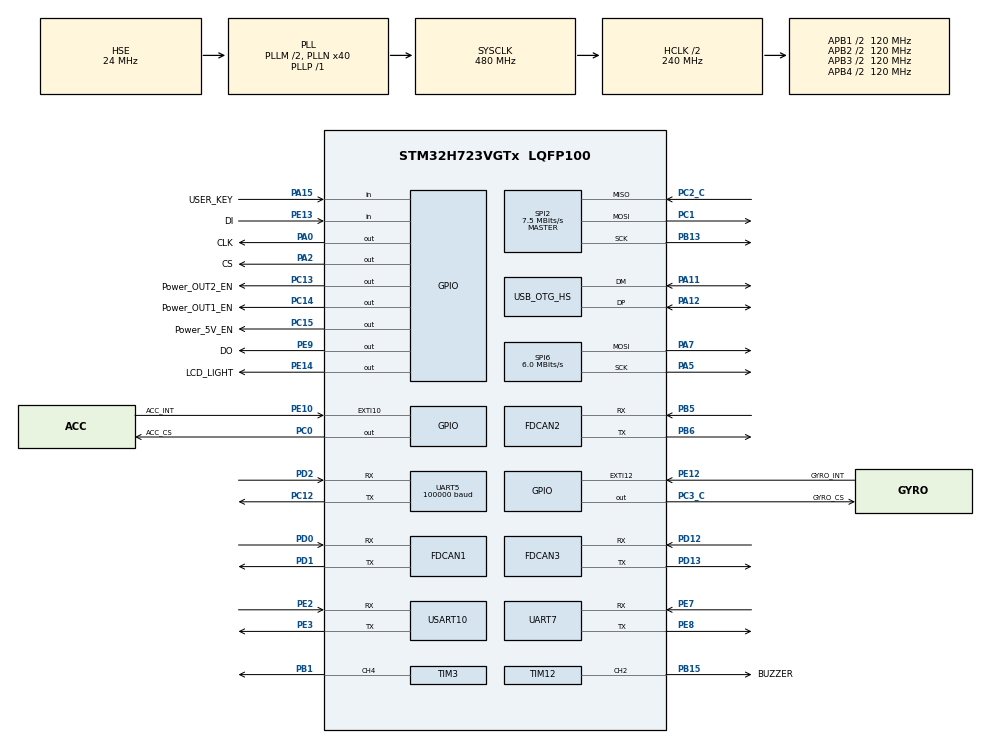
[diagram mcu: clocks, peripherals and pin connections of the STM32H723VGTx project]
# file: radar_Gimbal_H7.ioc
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Dma.Request0=SPI2_RX
Dma.Request1=SPI2_TX
Dma.Request2=USART10_RX
Dma.Request3=UART7_RX
Dma.Request4=UART5_RX
Dma.Request5=UART7_TX
Dma.SPI2_RX.0.Direction=DMA_PERIPH_TO_MEMORY
Dma.SPI2_RX.0.EventEnable=DISABLE
Dma.SPI2_RX.0.FIFOMode=DMA_FIFOMODE_DISABLE
Dma.SPI2_RX.0.Instance=DMA1_Stream2
Dma.SPI2_RX.0.MemDataAlignment=DMA_MDATAALIGN_BYTE
Dma.SPI2_RX.0.MemInc=DMA_MINC_ENABLE
Dma.SPI2_RX.0.Mode=DMA_NORMAL
Dma.SPI2_RX.0.PeriphDataAlignment=DMA_PDATAALIGN_BYTE
Dma.SPI2_RX.0.PeriphInc=DMA_PINC_DISABLE
Dma.SPI2_RX.0.Polarity=HAL_DMAMUX_REQ_GEN_RISING
Dma.SPI2_RX.0.Priority=DMA_PRIORITY_VERY_HIGH
Dma.SPI2_RX.0.RequestNumber=1
Dma.SPI2_RX.0.SignalID=NONE
Dma.SPI2_RX.0.SyncEnable=DISABLE
Dma.SPI2_RX.0.SyncPolarity=HAL_DMAMUX_SYNC_NO_EVENT
Dma.SPI2_RX.0.SyncRequestNumber=1
Dma.SPI2_RX.0.SyncSignalID=NONE
Dma.SPI2_TX.1.Direction=DMA_MEMORY_TO_PERIPH
Dma.SPI2_TX.1.EventEnable=DISABLE
Dma.SPI2_TX.1.FIFOMode=DMA_FIFOMODE_DISABLE
Dma.SPI2_TX.1.Instance=DMA1_Stream1
Dma.SPI2_TX.1.MemDataAlignment=DMA_MDATAALIGN_BYTE
Dma.SPI2_TX.1.MemInc=DMA_MINC_ENABLE
Dma.SPI2_TX.1.Mode=DMA_NORMAL
Dma.SPI2_TX.1.PeriphDataAlignment=DMA_PDATAALIGN_BYTE
Dma.SPI2_TX.1.PeriphInc=DMA_PINC_DISABLE
Dma.SPI2_TX.1.Polarity=HAL_DMAMUX_REQ_GEN_RISING
Dma.SPI2_TX.1.Priority=DMA_PRIORITY_HIGH
Dma.SPI2_TX.1.RequestNumber=1
Dma.SPI2_TX.1.SignalID=NONE
Dma.SPI2_TX.1.SyncEnable=DISABLE
Dma.SPI2_TX.1.SyncPolarity=HAL_DMAMUX_SYNC_NO_EVENT
Dma.SPI2_TX.1.SyncRequestNumber=1
Dma.SPI2_TX.1.SyncSignalID=NONE
Dma.UART5_RX.4.Direction=DMA_PERIPH_TO_MEMORY
Dma.UART5_RX.4.EventEnable=DISABLE
Dma.UART5_RX.4.FIFOMode=DMA_FIFOMODE_DISABLE
Dma.UART5_RX.4.Instance=DMA1_Stream0
Dma.UART5_RX.4.MemDataAlignment=DMA_MDATAALIGN_BYTE
Dma.UART5_RX.4.MemInc=DMA_MINC_ENABLE
Dma.UART5_RX.4.Mode=DMA_CIRCULAR
Dma.UART5_RX.4.PeriphDataAlignment=DMA_PDATAALIGN_BYTE
Dma.UART5_RX.4.PeriphInc=DMA_PINC_DISABLE
Dma.UART5_RX.4.Polarity=HAL_DMAMUX_REQ_GEN_RISING
Dma.UART5_RX.4.Priority=DMA_PRIORITY_HIGH
Dma.UART5_RX.4.RequestNumber=1
Dma.UART5_RX.4.SignalID=NONE
Dma.UART5_RX.4.SyncEnable=DISABLE
Dma.UART5_RX.4.SyncPolarity=HAL_DMAMUX_SYNC_NO_EVENT
Dma.UART5_RX.4.SyncRequestNumber=1
Dma.UART5_RX.4.SyncSignalID=NONE
Dma.UART7_RX.3.Direction=DMA_PERIPH_TO_MEMORY
Dma.UART7_RX.3.EventEnable=DISABLE
Dma.UART7_RX.3.FIFOMode=DMA_FIFOMODE_DISABLE
Dma.UART7_RX.3.Instance=DMA1_Stream5
Dma.UART7_RX.3.MemDataAlignment=DMA_MDATAALIGN_BYTE
Dma.UART7_RX.3.MemInc=DMA_MINC_ENABLE
Dma.UART7_RX.3.Mode=DMA_NORMAL
Dma.UART7_RX.3.PeriphDataAlignment=DMA_PDATAALIGN_BYTE
Dma.UART7_RX.3.PeriphInc=DMA_PINC_DISABLE
Dma.UART7_RX.3.Polarity=HAL_DMAMUX_REQ_GEN_RISING
Dma.UART7_RX.3.Priority=DMA_PRIORITY_VERY_HIGH
Dma.UART7_RX.3.RequestNumber=1
Dma.UART7_RX.3.SignalID=NONE
Dma.UART7_RX.3.SyncEnable=DISABLE
Dma.UART7_RX.3.SyncPolarity=HAL_DMAMUX_SYNC_NO_EVENT
Dma.UART7_RX.3.SyncRequestNumber=1
Dma.UART7_RX.3.SyncSignalID=NONE
Dma.UART7_TX.5.Direction=DMA_MEMORY_TO_PERIPH
Dma.UART7_TX.5.EventEnable=DISABLE
Dma.UART7_TX.5.FIFOMode=DMA_FIFOMODE_DISABLE
Dma.UART7_TX.5.Instance=DMA1_Stream4
Dma.UART7_TX.5.MemDataAlignment=DMA_MDATAALIGN_BYTE
Dma.UART7_TX.5.MemInc=DMA_MINC_ENABLE
Dma.UART7_TX.5.Mode=DMA_NORMAL
Dma.UART7_TX.5.PeriphDataAlignment=DMA_PDATAALIGN_BYTE
Dma.UART7_TX.5.PeriphInc=DMA_PINC_DISABLE
Dma.UART7_TX.5.Polarity=HAL_DMAMUX_REQ_GEN_RISING
Dma.UART7_TX.5.Priority=DMA_PRIORITY_HIGH
Dma.UART7_TX.5.RequestNumber=1
Dma.UART7_TX.5.SignalID=NONE
Dma.UART7_TX.5.SyncEnable=DISABLE
Dma.UART7_TX.5.SyncPolarity=HAL_DMAMUX_SYNC_NO_EVENT
Dma.UART7_TX.5.SyncRequestNumber=1
Dma.UART7_TX.5.SyncSignalID=NONE
Dma.USART10_RX.2.Direction=DMA_PERIPH_TO_MEMORY
Dma.USART10_RX.2.EventEnable=DISABLE
Dma.USART10_RX.2.FIFOMode=DMA_FIFOMODE_DISABLE
Dma.USART10_RX.2.Instance=DMA1_Stream3
Dma.USART10_RX.2.MemDataAlignment=DMA_MDATAALIGN_BYTE
Dma.USART10_RX.2.MemInc=DMA_MINC_ENABLE
Dma.USART10_RX.2.Mode=DMA_NORMAL
Dma.USART10_RX.2.PeriphDataAlignment=DMA_PDATAALIGN_BYTE
Dma.USART10_RX.2.PeriphInc=DMA_PINC_DISABLE
Dma.USART10_RX.2.Polarity=HAL_DMAMUX_REQ_GEN_RISING
Dma.USART10_RX.2.Priority=DMA_PRIORITY_HIGH
Dma.USART10_RX.2.RequestNumber=1
Dma.USART10_RX.2.SignalID=NONE
Dma.USART10_RX.2.SyncEnable=DISABLE
Dma.USART10_RX.2.SyncPolarity=HAL_DMAMUX_SYNC_NO_EVENT
Dma.USART10_RX.2.SyncRequestNumber=1
Dma.USART10_RX.2.SyncSignalID=NONE
FDCAN1.CalculateBaudRateNominal=1000000
FDCAN1.CalculateTimeBitNominal=1000
FDCAN1.CalculateTimeQuantumNominal=40.0
FDCAN1.DataPrescaler=4
FDCAN1.DataTimeSeg1=19
FDCAN1.DataTimeSeg2=5
FDCAN1.NominalPrescaler=4
FDCAN1.NominalTimeSeg1=19
FDCAN1.NominalTimeSeg2=5
FDCAN1.RxFifo0ElmtsNbr=2
FDCAN1.StdFiltersNbr=1
FDCAN1.TxFifoQueueElmtsNbr=2
FDCAN2.CalculateBaudRateNominal=1000000
FDCAN2.CalculateTimeBitNominal=1000
FDCAN2.CalculateTimeQuantumNominal=40.0
FDCAN2.DataPrescaler=4
FDCAN2.DataTimeSeg1=19
FDCAN2.DataTimeSeg2=5
FDCAN2.NominalPrescaler=4
FDCAN2.NominalTimeSeg1=19
FDCAN2.NominalTimeSeg2=5
FDCAN2.RxFifo0ElmtsNbr=2
FDCAN2.RxFifo1ElmtsNbr=0
FDCAN2.StdFiltersNbr=1
FDCAN2.TxFifoQueueElmtsNbr=2
FDCAN3.CalculateBaudRateNominal=1000000
FDCAN3.CalculateTimeBitNominal=1000
FDCAN3.CalculateTimeQuantumNominal=40.0
FDCAN3.DataPrescaler=4
FDCAN3.DataTimeSeg1=19
FDCAN3.DataTimeSeg2=5
FDCAN3.NominalPrescaler=4
FDCAN3.NominalTimeSeg1=19
FDCAN3.NominalTimeSeg2=5
FDCAN3.RxFifo0ElmtsNbr=2
FDCAN3.StdFiltersNbr=1
FDCAN3.TxFifoQueueElmtsNbr=2
FREERTOS.INCLUDE_eTaskGetState=1
FREERTOS.INCLUDE_pcTaskGetTaskName=1
FREERTOS.INCLUDE_uxTaskGetStackHighWaterMark=1
FREERTOS.INCLUDE_vTaskCleanUpResources=1
FREERTOS.INCLUDE_vTaskDelayUntil=1
FREERTOS.INCLUDE_xQueueGetMutexHolder=1
FREERTOS.INCLUDE_xSemaphoreGetMutexHolder=1
FREERTOS.INCLUDE_xTaskAbortDelay=1
FREERTOS.INCLUDE_xTaskGetCurrentTaskHandle=1
FREERTOS.INCLUDE_xTaskGetHandle=1
FREERTOS.INCLUDE_xTimerPendFunctionCall=1
FREERTOS.MEMORY_ALLOCATION=0
FREERTOS.Tasks01=defaultTask,0,128,StartDefaultTask,Default,NULL,Dynamic,NULL,NULL;INS_TASK,3,512,INS_Task,As weak,NULL,Dynamic,NULL,NULL;GIMBAL_TASK,2,1024,Gimbal_Task,As weak,NULL,Dynamic,NULL,NULL;DETECT_TASK,-2,128,Detect_Task,As weak,NULL,Dynamic,NULL,NULL;MESSAGE_TASK,-2,128,Message_Task,As weak,NULL,Dynamic,NULL,NULL;CAN_TASK,2,128,Can_Task,As weak,NULL,Dynamic,NULL,NULL
FREERTOS.configENABLE_FPU=1
FREERTOS.configGENERATE_RUN_TIME_STATS=0
FREERTOS.configTOTAL_HEAP_SIZE=30720
FREERTOS.configUSE_NEWLIB_REENTRANT=1
FREERTOS.configUSE_TIMERS=1
Mcu.Family=STM32H7
Mcu.Name=STM32H723VGTx
Mcu.Package=LQFP100
NVIC.DMA1_Stream0_IRQn=true\:5\:0\:false\:false\:true\:true\:false\:true\:true
NVIC.DMA1_Stream1_IRQn=true\:6\:0\:true\:false\:true\:true\:false\:true\:true
NVIC.DMA1_Stream2_IRQn=true\:5\:0\:false\:false\:true\:true\:false\:true\:true
NVIC.DMA1_Stream3_IRQn=true\:5\:0\:false\:false\:true\:true\:false\:true\:true
NVIC.DMA1_Stream4_IRQn=true\:5\:0\:false\:false\:true\:true\:false\:true\:true
NVIC.DMA1_Stream5_IRQn=true\:5\:0\:false\:false\:true\:true\:false\:true\:true
NVIC.EXTI15_10_IRQn=true\:6\:0\:true\:false\:true\:true\:true\:true\:true
NVIC.FDCAN1_IT0_IRQn=true\:5\:0\:true\:false\:true\:true\:true\:true\:true
NVIC.FDCAN2_IT0_IRQn=true\:5\:0\:true\:false\:true\:true\:true\:true\:true
NVIC.FDCAN3_IT0_IRQn=true\:5\:0\:false\:false\:true\:true\:true\:true\:true
NVIC.OTG_HS_IRQn=true\:5\:0\:false\:false\:true\:true\:false\:true\:true
NVIC.PriorityGroup=NVIC_PRIORITYGROUP_4
NVIC.SPI2_IRQn=true\:6\:0\:true\:false\:true\:true\:false\:true\:true
NVIC.TIM15_IRQn=true\:5\:0\:false\:false\:true\:true\:true\:true\:true
NVIC.TIM2_IRQn=true\:15\:0\:false\:false\:true\:false\:false\:true\:true
NVIC.TimeBase=TIM2_IRQn
NVIC.TimeBaseIP=TIM2
NVIC.UART5_IRQn=true\:5\:0\:false\:false\:true\:true\:true\:true\:true
NVIC.UART7_IRQn=true\:5\:0\:true\:false\:true\:true\:true\:true\:true
NVIC.USART10_IRQn=true\:5\:0\:false\:false\:true\:true\:true\:true\:true
PA0.GPIO_Label=CLK
PA0.Signal=GPIO_Output
PA11.Mode=Device_Only_FS
PA11.Signal=USB_OTG_HS_DM
PA12.Mode=Device_Only_FS
PA12.Signal=USB_OTG_HS_DP
PA13(JTMS/SWDIO).Mode=Serial_Wire
PA13(JTMS/SWDIO).Signal=DEBUG_JTMS-SWDIO
PA14(JTCK/SWCLK).Mode=Serial_Wire
PA14(JTCK/SWCLK).Signal=DEBUG_JTCK-SWCLK
PA15(JTDI).GPIO_Label=USER_KEY
PA15(JTDI).Signal=GPIO_Input
PA2.GPIO_Label=CS
PA2.Signal=GPIO_Output
PA5.Mode=TX_Only_Simplex_Unidirect_Master
PA5.Signal=SPI6_SCK
PA7.Mode=TX_Only_Simplex_Unidirect_Master
PA7.Signal=SPI6_MOSI
PB1.Signal=S_TIM3_CH4
PB13.GPIO_Speed=GPIO_SPEED_FREQ_VERY_HIGH
PB13.Mode=Full_Duplex_Master
PB13.Signal=SPI2_SCK
PB15.GPIO_Label=BUZZER
PB15.Signal=S_TIM12_CH2
PB5.Mode=FDCAN_Activate
PB5.Signal=FDCAN2_RX
PB6.Mode=FDCAN_Activate
PB6.Signal=FDCAN2_TX
PC0.GPIO_Label=ACC_CS
PC0.GPIO_Speed=GPIO_SPEED_FREQ_VERY_HIGH
PC0.PinState=GPIO_PIN_SET
PC0.Signal=GPIO_Output
PC1.GPIO_Speed=GPIO_SPEED_FREQ_VERY_HIGH
PC1.Mode=Full_Duplex_Master
PC1.Signal=SPI2_MOSI
PC12.Mode=Asynchronous
PC12.Signal=UART5_TX
PC13.GPIO_Label=Power_OUT2_EN
PC13.Signal=GPIO_Output
PC14-OSC32_IN.GPIO_Label=Power_OUT1_EN
PC14-OSC32_IN.Signal=GPIO_Output
PC15-OSC32_OUT.GPIO_Label=Power_5V_EN
PC15-OSC32_OUT.Signal=GPIO_Output
PC2_C.GPIO_Speed=GPIO_SPEED_FREQ_VERY_HIGH
PC2_C.Mode=Full_Duplex_Master
PC2_C.Signal=SPI2_MISO
PC3_C.GPIO_Label=GYRO_CS
PC3_C.GPIO_Speed=GPIO_SPEED_FREQ_VERY_HIGH
PC3_C.PinState=GPIO_PIN_SET
PC3_C.Signal=GPIO_Output
PC4.Signal=ADCx_INP4
PD0.Mode=FDCAN_Activate
PD0.Signal=FDCAN1_RX
PD1.Mode=FDCAN_Activate
PD1.Signal=FDCAN1_TX
PD12.Mode=FDCAN_Activate
PD12.Signal=FDCAN3_RX
PD13.Mode=FDCAN_Activate
PD13.Signal=FDCAN3_TX
PD2.Mode=Asynchronous
PD2.Signal=UART5_RX
PE10.GPIO_Label=ACC_INT
PE10.Signal=GPXTI10
PE12.GPIO_Label=GYRO_INT
PE12.Signal=GPXTI12
PE13.GPIO_Label=DI
PE13.GPIO_PuPd=GPIO_PULLUP
PE13.Signal=GPIO_Input
PE14.GPIO_Label=LCD_LIGHT
PE14.Signal=GPIO_Output
PE2.Mode=Asynchronous
PE2.Signal=USART10_RX
PE3.Mode=Asynchronous
PE3.Signal=USART10_TX
PE7.Mode=Asynchronous
PE7.Signal=UART7_RX
PE8.Mode=Asynchronous
PE8.Signal=UART7_TX
PE9.GPIO_Label=DO
PE9.Signal=GPIO_Output
PH0-OSC_IN.Mode=HSE-External-Oscillator
PH0-OSC_IN.Signal=RCC_OSC_IN
PH1-OSC_OUT.Mode=HSE-External-Oscillator
PH1-OSC_OUT.Signal=RCC_OSC_OUT
ProjectManager.HeapSize=0x2000
ProjectManager.StackSize=0x2000
ProjectManager.TargetToolchain=STM32CubeIDE
RCC.ADCFreq_Value=100000000
RCC.APB1Freq_Value=120000000
RCC.APB2Freq_Value=120000000
RCC.APB3Freq_Value=120000000
RCC.APB4Freq_Value=120000000
RCC.CortexFreq_Value=480000000
RCC.D1PPRE=RCC_APB3_DIV2
RCC.D2PPRE1=RCC_APB1_DIV2
RCC.D2PPRE2=RCC_APB2_DIV2
RCC.D3PPRE=RCC_APB4_DIV2
RCC.DIVM1=2
RCC.DIVM2=24
RCC.DIVN1=40
RCC.DIVN2=200
RCC.DIVP1=1
RCC.FDCANCLockSelection=RCC_FDCANCLKSOURCE_PLL2
RCC.HCLKFreq_Value=240000000
RCC.HPRE=RCC_HCLK_DIV2
RCC.HSE_VALUE=24000000
RCC.PLL2FRACN=0
RCC.PLL3FRACN=0
RCC.PLLFRACN=0
RCC.PLLSourceVirtual=RCC_PLLSOURCE_HSE
RCC.SPI6CLockSelection=RCC_SPI6CLKSOURCE_HSE
RCC.SYSCLKFreq_VALUE=480000000
RCC.SYSCLKSource=RCC_SYSCLKSOURCE_PLLCLK
RCC.USBCLockSelection=RCC_USBCLKSOURCE_HSI48
RCC.USBFreq_Value=48000000
SH.ADCx_INP4.0=ADC1_INP4
SH.S_TIM12_CH2.0=TIM12_CH2,PWM Generation2 CH2
SH.S_TIM3_CH4.0=TIM3_CH4,PWM Generation4 CH4
SPI2.BaudRatePrescaler=SPI_BAUDRATEPRESCALER_32
SPI2.CLKPhase=SPI_PHASE_2EDGE
SPI2.CLKPolarity=SPI_POLARITY_HIGH
SPI2.CalculateBaudRate=7.5 MBits/s
SPI2.DataSize=SPI_DATASIZE_8BIT
SPI2.Direction=SPI_DIRECTION_2LINES
SPI2.Mode=SPI_MODE_MASTER
SPI2.VirtualType=VM_MASTER
SPI6.BaudRatePrescaler=SPI_BAUDRATEPRESCALER_4
SPI6.CLKPhase=SPI_PHASE_2EDGE
SPI6.CalculateBaudRate=6.0 MBits/s
SPI6.DataSize=SPI_DATASIZE_8BIT
SPI6.Direction=SPI_DIRECTION_2LINES_TXONLY
SPI6.Mode=SPI_MODE_MASTER
SPI6.VirtualType=VM_MASTER
STMicroelectronics.X-CUBE-ALGOBUILD.1.4.0.LibraryCcDSPOoLibraryJjDSPOoLibrary=true
TIM12.Channel-PWM\ Generation2\ CH2=TIM_CHANNEL_2
TIM12.Period=999
TIM12.Prescaler=120-1
TIM15.Period=999
TIM15.Prescaler=24-1
TIM3.AutoReloadPreload=TIM_AUTORELOAD_PRELOAD_ENABLE
TIM3.Channel-PWM\ Generation4\ CH4=TIM_CHANNEL_4
TIM3.Period=10000-1
TIM3.Prescaler=24-1
UART5.BaudRate=100000
UART5.Parity=PARITY_EVEN
UART5.StopBits=UART_STOPBITS_2
UART5.WordLength=WORDLENGTH_9B
USART10.VirtualMode=VM_ASYNC
USB_DEVICE.CLASS_NAME_HS=CDC
USB_DEVICE.VirtualMode=Cdc
USB_DEVICE.VirtualModeHS=Cdc_HS
USB_OTG_HS.VirtualMode-Device_Only_FS=Device_Only_FS
VP_FREERTOS_VS_CMSIS_V1.Mode=CMSIS_V1
VP_MEMORYMAP_VS_MEMORYMAP.Mode=CurAppReg
VP_STMicroelectronics.X-CUBE-ALGOBUILD_VS_DSPOoLibraryJjLibrary_1.4.0_1.4.0.Mode=DSPOoLibraryJjLibrary
VP_SYS_VS_tim2.Mode=TIM2
VP_TIM12_VS_ClockSourceINT.Mode=Internal
VP_TIM15_VS_ClockSourceINT.Mode=Internal
VP_USB_DEVICE_VS_USB_DEVICE_CDC_HS.Mode=CDC_HS
board=custom

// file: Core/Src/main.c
/* USER CODE BEGIN Header */
/**
  ******************************************************************************
  * @file           : main.c
  * @brief          : Main program body
  ******************************************************************************
  * @attention
  *
  * Copyright (c) 2025 STMicroelectronics.
  * All rights reserved.
  *
  * This software is licensed under terms that can be found in the LICENSE file
  * in the root directory of this software component.
  * If no LICENSE file comes with this software, it is provided AS-IS.
  *
  ******************************************************************************
  */
/* USER CODE END Header */
#include "main.h"
#include "cmsis_os.h"
#include "dma.h"
#include "fdcan.h"
#include "spi.h"
#include "tim.h"
#include "usart.h"
#include "usb_device.h"
#include "gpio.h"

/* USER CODE BEGIN Includes */
#include "BMI088driver.h"
#include "kalman_filter.h"
#include "mahony_filter.h"
#include "bsp_dwt.h"
#include "bsp_can.h"
#include "fsi6.h"
#include "dt7.h"
#include "radar_task.h"
#include "vision_task.h"
#include "BMI088Middleware.h"
#include "hipnuc_imu_task.h"
/* USER CODE END Includes */

void SystemClock_Config(void);
void PeriphCommonClock_Config(void);
void MX_FREERTOS_Init(void);

int main(void)
{

  /* MCU Configuration--------------------------------------------------------*/

  /* Reset of all peripherals, Initializes the Flash interface and the Systick. */
  HAL_Init();

  /* Configure the system clock */
  SystemClock_Config();

  /* Configure the peripherals common clocks */
  PeriphCommonClock_Config();

  /* Initialize all configured peripherals */
  MX_GPIO_Init();
  MX_DMA_Init();
  MX_SPI2_Init();
  MX_TIM3_Init();
  MX_FDCAN1_Init();
  MX_FDCAN2_Init();
  MX_FDCAN3_Init();
  MX_SPI6_Init();
  MX_TIM15_Init();
  MX_USART10_UART_Init();
  MX_TIM12_Init();
  MX_UART7_Init();
  MX_UART5_Init();
  /* USER CODE BEGIN 2 */
  Fsi6_Init();
  Vision_Init();
  Radar_Init();

  DWT_Init(480);
  while (BMI088_init(&hspi2, 0) != BMI088_NO_ERROR)
  {
    ;
  }

  FDCAN1_Config_Init();
  FDCAN2_Config_Init();
  Power_OUT1_OFF;
  Power_OUT1_OFF;
  Power_5V_ON;
  //vision_init();
  /* USER CODE END 2 */

  /* Call init function for freertos objects (in cmsis_os2.c) */
  MX_FREERTOS_Init();

  /* Start scheduler */
  osKernelStart();

  /* We should never get here as control is now taken by the scheduler */

  /* Infinite loop */
  while (1)
  {

  }
}

void SystemClock_Config(void)
{
  RCC_OscInitTypeDef RCC_OscInitStruct = {0};
  RCC_ClkInitTypeDef RCC_ClkInitStruct = {0};

  /** Supply configuration update enable
  */
  HAL_PWREx_ConfigSupply(PWR_LDO_SUPPLY);

  /** Configure the main internal regulator output voltage
  */
  __HAL_PWR_VOLTAGESCALING_CONFIG(PWR_REGULATOR_VOLTAGE_SCALE0);

  while(!__HAL_PWR_GET_FLAG(PWR_FLAG_VOSRDY)) {}

  /** Initializes the RCC Oscillators according to the specified parameters
  * in the RCC_OscInitTypeDef structure.
  */
  RCC_OscInitStruct.OscillatorType = RCC_OSCILLATORTYPE_HSI48|RCC_OSCILLATORTYPE_HSE;
  RCC_OscInitStruct.HSEState = RCC_HSE_ON;
  RCC_OscInitStruct.HSI48State = RCC_HSI48_ON;
  RCC_OscInitStruct.PLL.PLLState = RCC_PLL_ON;
  RCC_OscInitStruct.PLL.PLLSource = RCC_PLLSOURCE_HSE;
  RCC_OscInitStruct.PLL.PLLM = 2;
  RCC_OscInitStruct.PLL.PLLN = 40;
  RCC_OscInitStruct.PLL.PLLP = 1;
  RCC_OscInitStruct.PLL.PLLQ = 2;
  RCC_OscInitStruct.PLL.PLLR = 2;
  RCC_OscInitStruct.PLL.PLLRGE = RCC_PLL1VCIRANGE_3;
  RCC_OscInitStruct.PLL.PLLVCOSEL = RCC_PLL1VCOWIDE;
  RCC_OscInitStruct.PLL.PLLFRACN = 0;
  if (HAL_RCC_OscConfig(&RCC_OscInitStruct) != HAL_OK)
  {
    Error_Handler();
  }

  /** Initializes the CPU, AHB and APB buses clocks
  */
  RCC_ClkInitStruct.ClockType = RCC_CLOCKTYPE_HCLK|RCC_CLOCKTYPE_SYSCLK
                              |RCC_CLOCKTYPE_PCLK1|RCC_CLOCKTYPE_PCLK2
                              |RCC_CLOCKTYPE_D3PCLK1|RCC_CLOCKTYPE_D1PCLK1;
  RCC_ClkInitStruct.SYSCLKSource = RCC_SYSCLKSOURCE_PLLCLK;
  RCC_ClkInitStruct.SYSCLKDivider = RCC_SYSCLK_DIV1;
  RCC_ClkInitStruct.AHBCLKDivider = RCC_HCLK_DIV2;
  RCC_ClkInitStruct.APB3CLKDivider = RCC_APB3_DIV2;
  RCC_ClkInitStruct.APB1CLKDivider = RCC_APB1_DIV2;
  RCC_ClkInitStruct.APB2CLKDivider = RCC_APB2_DIV2;
  RCC_ClkInitStruct.APB4CLKDivider = RCC_APB4_DIV2;

  if (HAL_RCC_ClockConfig(&RCC_ClkInitStruct, FLASH_LATENCY_3) != HAL_OK)
  {
    Error_Handler();
  }
}

void PeriphCommonClock_Config(void)
{
  RCC_PeriphCLKInitTypeDef PeriphClkInitStruct = {0};

  /** Initializes the peripherals clock
  */
  PeriphClkInitStruct.PeriphClockSelection = RCC_PERIPHCLK_FDCAN;
  PeriphClkInitStruct.PLL2.PLL2M = 24;
  PeriphClkInitStruct.PLL2.PLL2N = 200;
  PeriphClkInitStruct.PLL2.PLL2P = 2;
  PeriphClkInitStruct.PLL2.PLL2Q = 2;
  PeriphClkInitStruct.PLL2.PLL2R = 2;
  PeriphClkInitStruct.PLL2.PLL2RGE = RCC_PLL2VCIRANGE_0;
  PeriphClkInitStruct.PLL2.PLL2VCOSEL = RCC_PLL2VCOMEDIUM;
  PeriphClkInitStruct.PLL2.PLL2FRACN = 0;
  PeriphClkInitStruct.FdcanClockSelection = RCC_FDCANCLKSOURCE_PLL2;
  if (HAL_RCCEx_PeriphCLKConfig(&PeriphClkInitStruct) != HAL_OK)
  {
    Error_Handler();
  }
}

void HAL_TIM_PeriodElapsedCallback(TIM_HandleTypeDef *htim)
{
  if (htim->Instance == TIM2)
  {
    HAL_IncTick();
  }
}

void Error_Handler(void)
{
  __disable_irq();
  while (1)
  {
  }
}

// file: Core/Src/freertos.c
/* USER CODE BEGIN Header */
/**
  ******************************************************************************
  * File Name          : freertos.c
  * Description        : Code for freertos applications
  ******************************************************************************
  * @attention
  *
  * Copyright (c) 2025 STMicroelectronics.
  * All rights reserved.
  *
  * This software is licensed under terms that can be found in the LICENSE file
  * in the root directory of this software component.
  * If no LICENSE file comes with this software, it is provided AS-IS.
  *
  ******************************************************************************
  */
/* USER CODE END Header */

#include "FreeRTOS.h"
#include "task.h"
#include "main.h"
#include "cmsis_os.h"

/* USER CODE BEGIN Includes */
#include "gimbal_task.h"
#include "ins_task.h"
#include "message_task.h"
#include "detect_task.h"
/* USER CODE END Includes */

osThreadId defaultTaskHandle;
osThreadId INS_TASKHandle;
osThreadId GIMBAL_TASKHandle;
osThreadId DETECT_TASKHandle;
osThreadId MESSAGE_TASKHandle;
osThreadId CAN_TASKHandle;

void StartDefaultTask(void const * argument);
void INS_Task(void const * argument);
void Gimbal_Task(void const * argument);
void Detect_Task(void const * argument);
void Message_Task(void const * argument);
void Can_Task(void const * argument);

extern void MX_USB_DEVICE_Init(void);
void MX_FREERTOS_Init(void); /* (MISRA C 2004 rule 8.1) */

void MX_FREERTOS_Init(void) {

  /* Create the thread(s) */
  /* definition and creation of defaultTask */
  osThreadDef(defaultTask, StartDefaultTask, osPriorityNormal, 0, 128);
  defaultTaskHandle = osThreadCreate(osThread(defaultTask), NULL);

  /* definition and creation of INS_TASK */
  osThreadDef(INS_TASK, INS_Task, osPriorityRealtime, 0, 512);
  INS_TASKHandle = osThreadCreate(osThread(INS_TASK), NULL);

  /* definition and creation of GIMBAL_TASK */
  osThreadDef(GIMBAL_TASK, Gimbal_Task, osPriorityHigh, 0, 1024);
  GIMBAL_TASKHandle = osThreadCreate(osThread(GIMBAL_TASK), NULL);

  /* definition and creation of DETECT_TASK */
  osThreadDef(DETECT_TASK, Detect_Task, osPriorityLow, 0, 128);
  DETECT_TASKHandle = osThreadCreate(osThread(DETECT_TASK), NULL);

  /* definition and creation of MESSAGE_TASK */
  osThreadDef(MESSAGE_TASK, Message_Task, osPriorityLow, 0, 128);
  MESSAGE_TASKHandle = osThreadCreate(osThread(MESSAGE_TASK), NULL);

  /* definition and creation of CAN_TASK */
  osThreadDef(CAN_TASK, Can_Task, osPriorityHigh, 0, 128);
  CAN_TASKHandle = osThreadCreate(osThread(CAN_TASK), NULL);

}

void StartDefaultTask(void const * argument)
{
  /* init code for USB_DEVICE */
  MX_USB_DEVICE_Init();
  for(;;)
  {
    osDelay(1);
  }
}

__weak void INS_Task(void const * argument)
{
  for(;;)
  {
    osDelay(1);
  }
}

__weak void Gimbal_Task(void const * argument)
{
  for(;;)
  {
    osDelay(1);
  }
}

__weak void Detect_Task(void const * argument)
{
  for(;;)
  {
    osDelay(1);
  }
}

__weak void Message_Task(void const * argument)
{
  for(;;)
  {
    osDelay(1);
  }
}

__weak void Can_Task(void const * argument)
{
  for(;;)
  {
    osDelay(1);
  }
}
